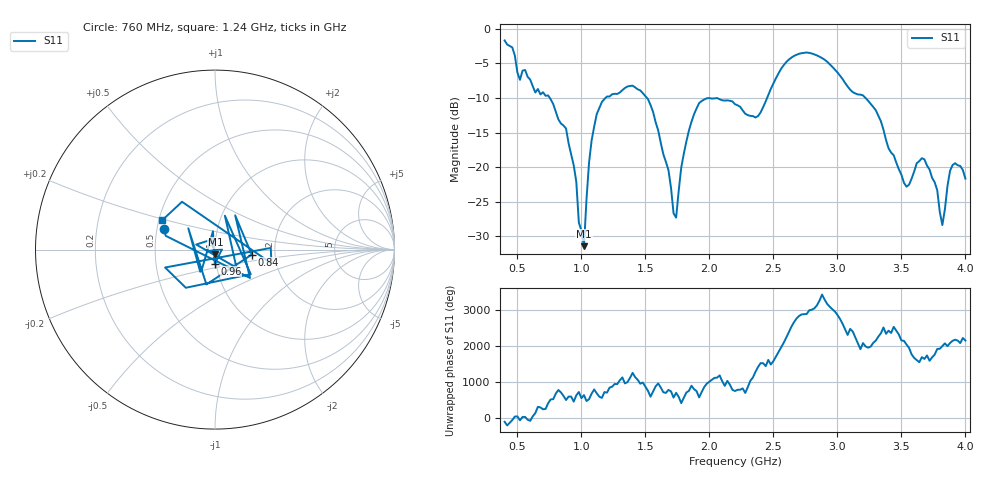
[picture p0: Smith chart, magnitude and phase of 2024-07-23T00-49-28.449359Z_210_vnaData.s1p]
!Created with skrf (http://scikit-rf.org).
# Hz S RI R 50.0
!freq ReS11 ImS11
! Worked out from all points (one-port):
!   181 points, 400 MHz to 4 GHz, reference 50 ohm
!   lowest |S11| = -31.4 dB at 1.02 GHz (marker M1), VSWR 1.06, Z = 50.2 - j2.68 ohm
!   |S11| at or under -10 dB: 753 MHz to 1.189 GHz (435.6 MHz wide, 44.9 % of centre); 1.512 GHz to 2.451 GHz (938.7 MHz wide, 47.4 % of centre); 3.219 GHz to end of sweep
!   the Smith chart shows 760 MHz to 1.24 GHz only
!   S11 on the Smith chart (normalised r, x): 760 MHz: 0.54, +0.14; 840 MHz: 1.51, -0.09; 960 MHz: 0.99, -0.16; 1.24 GHz: 0.52, +0.19
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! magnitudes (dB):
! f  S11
! 400 MHz  -1.7
! 520 MHz  -7.4
! 760 MHz  -10.2
! 840 MHz  -13.7
! 860 MHz  -14.0
! 960 MHz  -22.1
! 980 MHz  -28.0
! 1.02 GHz  -31.4
! 1.08 GHz  -16.1
! 1.24 GHz  -9.5
! 1.3 GHz  -9.2
! 1.52 GHz  -10.2
! 1.68 GHz  -20.4
! 1.72 GHz  -26.7
! 1.76 GHz  -23.5
! 1.82 GHz  -16.3
! 1.92 GHz  -10.7
! 2.2 GHz  -10.9
! 2.38 GHz  -12.6
! 2.66 GHz  -3.9
! 3.1 GHz  -8.8
! 3.3 GHz  -11.8
! 3.56 GHz  -22.5
! 3.68 GHz  -18.9
! 3.78 GHz  -23.3
! 3.82 GHz  -28.4
! 3.9 GHz  -19.7
! 4 GHz  -21.7
